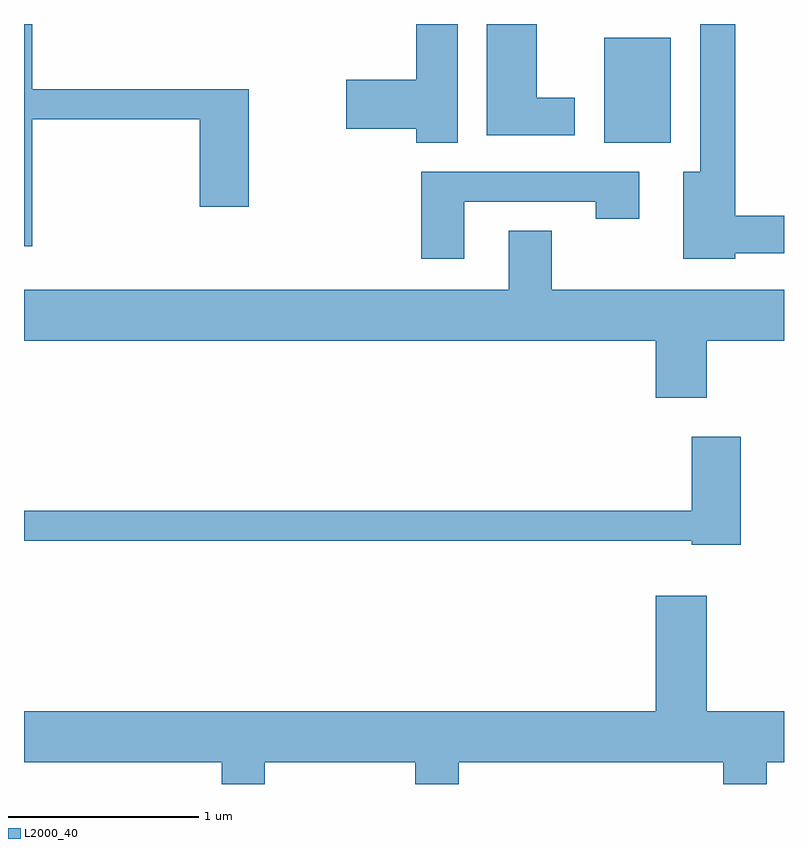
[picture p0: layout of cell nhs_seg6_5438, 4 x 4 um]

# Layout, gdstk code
import gdstk
lib = gdstk.Library(unit=1e-6, precision=1e-09)
def R(c, l, rs):  # rectangles x0, y0, x1, y1
    for r in rs: c.add(gdstk.rectangle(r[:2], r[2:], *l))
def P(c, l, *ps):  # polygons
    for p in ps: c.add(gdstk.Polygon(p, *l))
L2000_40 = (2000, 40)

nhs_seg6_5438 = lib.new_cell('nhs_seg6_5438')
R(nhs_seg6_5438, L2000_40, [(354.666,1535.536,355.014,1536.089)])
P(nhs_seg6_5438, L2000_40, [(354.509,1535.774),(354.309,1535.774),(354.309,1536.162),(354.046,1536.162),(354.046,1535.576),(354.509,1535.576)],
  [(353.894,1536.162),(353.676,1536.162),(353.676,1535.869),(353.306,1535.869),(353.306,1535.611),(353.676,1535.611),(353.676,1535.536),(353.894,1535.536)],
  [(355.354,1534.956),(355.611,1534.956),(355.611,1535.154),(355.354,1535.154),(355.354,1536.162),(355.171,1536.162),(355.171,1535.384),(355.081,1535.384),(355.081,1534.926),(355.354,1534.926)],
  [(351.654,1535.661),(352.536,1535.661),(352.536,1535.201),(352.794,1535.201),(352.794,1535.819),(351.654,1535.819),(351.654,1536.162),(351.611,1536.162),(351.611,1534.991),(351.654,1534.991)],
  [(353.929,1535.226),(354.621,1535.226),(354.621,1535.136),(354.849,1535.136),(354.849,1535.384),(353.701,1535.384),(353.701,1534.926),(353.929,1534.926)],
  [(355.204,1534.496),(355.611,1534.496),(355.611,1534.764),(354.389,1534.764),(354.389,1535.074),(354.161,1535.074),(354.161,1534.764),(351.611,1534.764),(351.611,1534.496),(354.936,1534.496),(354.936,1534.196),(355.204,1534.196)],
  [(355.384,1533.989),(355.126,1533.989),(355.126,1533.599),(351.611,1533.599),(351.611,1533.441),(355.126,1533.441),(355.126,1533.421),(355.384,1533.421)],
  [(352.879,1532.276),(353.671,1532.276),(353.671,1532.162),(353.899,1532.162),(353.899,1532.276),(355.291,1532.276),(355.291,1532.162),(355.519,1532.162),(355.519,1532.276),(355.611,1532.276),(355.611,1532.544),(355.204,1532.544),(355.204,1533.154),(354.936,1533.154),(354.936,1532.544),(351.611,1532.544),(351.611,1532.276),(352.651,1532.276),(352.651,1532.162),(352.879,1532.162)])

lib.write_gds('nhs_seg6_5438.gds')
